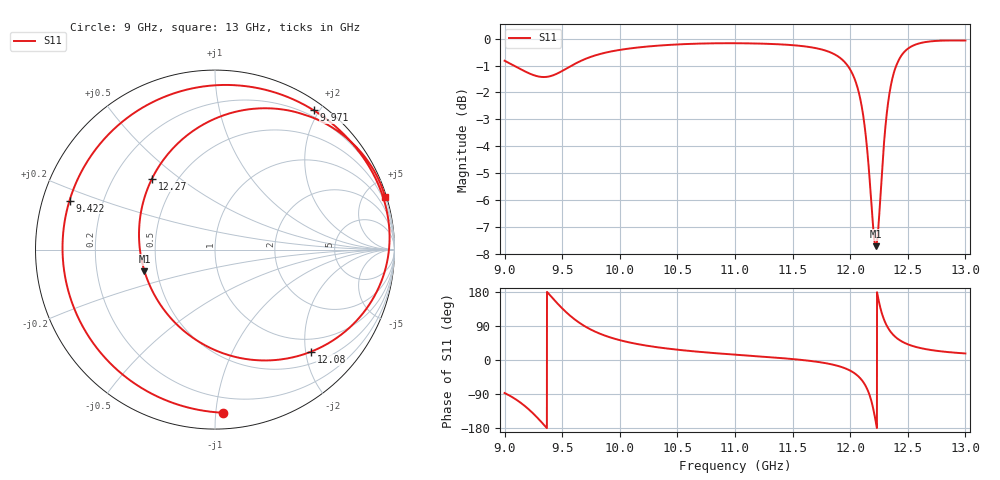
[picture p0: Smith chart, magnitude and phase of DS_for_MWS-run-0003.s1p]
! TOUCHSTONE file generated by CST DESIGN STUDIO
! Date and time: Tue Feb  4 13:09:02 2025
! Project name: C:\Work\MatlabApps\UnitCellOptimizationMatlab\CST\unitcell.cst
! Tree item: Tasks\Sweep1\SPara1\S-Parameters
! Header version: 2024
! Port assignment regex: !\s*Touchstone port\s*([0-9]+)\s*=\s*(CST MWS port|CST DES external port|CST DES block port)\s*(.+)\s* \(\"(.*)\"\)(\s*mode\s*([0-9]+))?.*
! Touchstone port assignment:
! Touchstone port 1 = CST DES external port 1 ("")
# GHz S MA R 50
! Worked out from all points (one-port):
!   4001 points, 9 GHz to 13 GHz, reference 50 ohm
!   lowest |S11| = -7.7 dB at 12.22 GHz (marker M1), VSWR 2.40, Z = 21.3 - j6.15 ohm
!   |S11| at or under -10 dB: nowhere
!   S11 on the Smith chart (normalised r, x): 9 GHz: 0.10, -1.05; 9.422 GHz: 0.08, +0.16; 9.971 GHz: 0.12, +1.93; 12.08 GHz: 0.72, -2.11; 12.27 GHz: 0.36, +0.40; 13 GHz: 0.16, +6.58
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9  0.9102 -87.1
9.115  0.8834 -107.5
9.21  0.8629 -130.4
9.326  0.849 -165.9
9.422  0.8554 161.4
9.5  0.8712 136.2
9.583  0.8917 113.3
9.675  0.9123 93.0
9.814  0.935 71.1
9.971  0.9513 54.7
10  0.9536 52.3
10.5  0.9761 27.2
11  0.9812 14.1
11.5  0.9731 2.5
11.831  0.943 -11.0
12  0.8764 -28.0
12.083  0.7807 -46.8
12.129  0.6779 -65.7
12.162  0.5718 -87.3
12.191  0.4691 -116.7
12.222  0.411 -163.0
12.267  0.5289 131.5
12.304  0.6798 99.1
12.344  0.7988 77.4
12.413  0.9045 55.8
12.5  0.9583 41.4
12.679  0.988 27.4
13  0.9926 17.3
